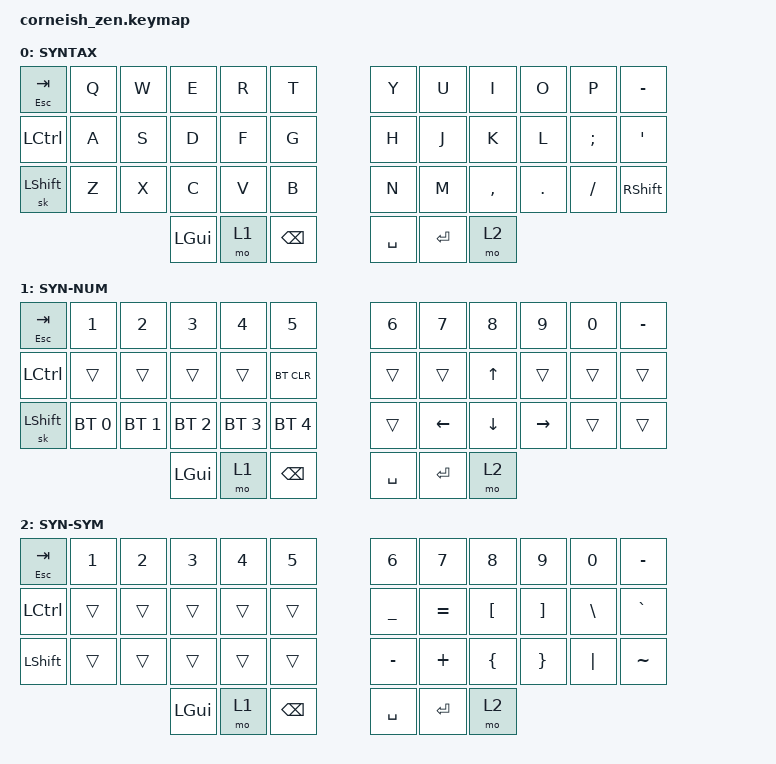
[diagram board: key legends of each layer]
/*
 * Copyright (c) 2020 The ZMK Contributors
 *
 * SPDX-License-Identifier: MIT
 */

#include <behaviors.dtsi>
#include <dt-bindings/zmk/keys.h>
#include <dt-bindings/zmk/bt.h>
#include <dt-bindings/zmk/outputs.h>
       

/ {    
//      TODO: ADD TAP DANCE INSTEAD OF MOD TAP
//

        keymap {
                compatible = "zmk,keymap";

                default_layer {
                     label = "SYNTAX";
// -----------------------------------------------------------------------------------------
// |  TAB |  Q  |  W  |  E  |  R  |  T  |   |  Y  |  U   |  I  |  O  |  P  |  -   |
// | CTRL |  A  |  S  |  D  |  F  |  G  |   |  H  |  J   |  K  |  L  |  ;  |  '   |
// | SHFT |  Z  |  X  |  C  |  V  |  B  |   |  N  |  M   |  ,  |  .  |  /  | SHFT |
//                    | GUI | LWR | BPSP|   | SPC | ENT  | RSE |
                        bindings = <
                                &mt ESC TAB          &kp Q           &kp W           &kp E           &kp R           &kp T           &kp Y           &kp U           &kp I           &kp O           &kp P           &kp MINUS
                                &kp LCTRL            &kp A           &kp S           &kp D           &kp F           &kp G           &kp H           &kp J           &kp K           &kp L           &kp SEMI        &kp SQT
                                &sk LSHIFT           &kp Z           &kp X           &kp C           &kp V           &kp B           &kp N           &kp M           &kp COMMA       &kp DOT         &kp FSLH        &kp RSHFT
                                                                                     &kp LGUI        &mo 1           &kp BSPC        &kp SPACE       &kp RET         &mo 2
                        >;
                };
                lower_layer {
                     label = "SYN-NUM";
// -----------------------------------------------------------------------------------------
// |  TAB |  1  |  2  |  3  |  4  |  5  |   |  6  |  7  |  8  |  9  |  0  |  -   |
// | CTRL |     |     |     |     |BTCLR|   |     |     |  UP |     |     |      |
// | SHFT | BT1 | BT2 | BT3 | BT4 | BT5 |   |     | LFT | DWN | RGT |     | SHFT |
//                    | GUI | LWR | BPSP|   | SPC | ENT | RSE |
                        bindings = <
                                &mt ESC TAB          &kp N1          &kp N2          &kp N3          &kp N4          &kp N5          &kp N6          &kp N7          &kp N8          &kp N9          &kp N0          &kp MINUS
                                &kp LCTRL            &trans          &trans          &trans          &trans          &bt BT_CLR      &trans          &trans          &kp UP          &trans          &trans          &trans
                                &sk LSHIFT           &bt BT_SEL 0    &bt BT_SEL 1    &bt BT_SEL 2    &bt BT_SEL 3    &bt BT_SEL 4    &trans          &kp LEFT        &kp DOWN        &kp RIGHT       &trans          &trans
                          	                                                         &kp LGUI        &mo 1           &kp BSPC        &kp SPACE       &kp RET         &mo 2
                        >;
                };

                raise_layer {
                        label = "SYN-SYM";
// -----------------------------------------------------------------------------------------
// |  TAB |  1  |  2  |  3  |  4  |  5  |   |  6  |  7  |  8  |  9  |  0  |  -   |
// | CTRL |  ~  |     |     |     |     |   |  _  |  =  |  [  |  ]  |  \  |  `   |
// | SHFT |     |     |     |     |     |   |  -  |  +  |  {  |  }  | "|" | SHFT |
//                    | GUI | LWR | BPSP|   | SPC | ENT | RSE |
                        bindings = <
                                &mt ESC TAB             &kp N1          &kp N2          &kp N3          &kp N4          &kp N5          &kp N6          &kp N7          &kp N8          &kp N9          &kp N0          &kp MINUS
                                &kp LCTRL               &trans          &trans          &trans          &trans          &trans          &kp UNDER       &kp EQUAL       &kp LBKT        &kp RBKT        &kp BSLH        &kp GRAVE
                                &kp LSHFT               &trans          &trans          &trans          &trans          &trans          &kp MINUS       &kp PLUS        &kp LBRC        &kp RBRC        &kp PIPE        &kp TILDE
                                                                                        &kp LGUI        &mo 1           &kp BSPC        &kp SPACE       &kp RET         &mo 2
                        >;
                };
        };
};
